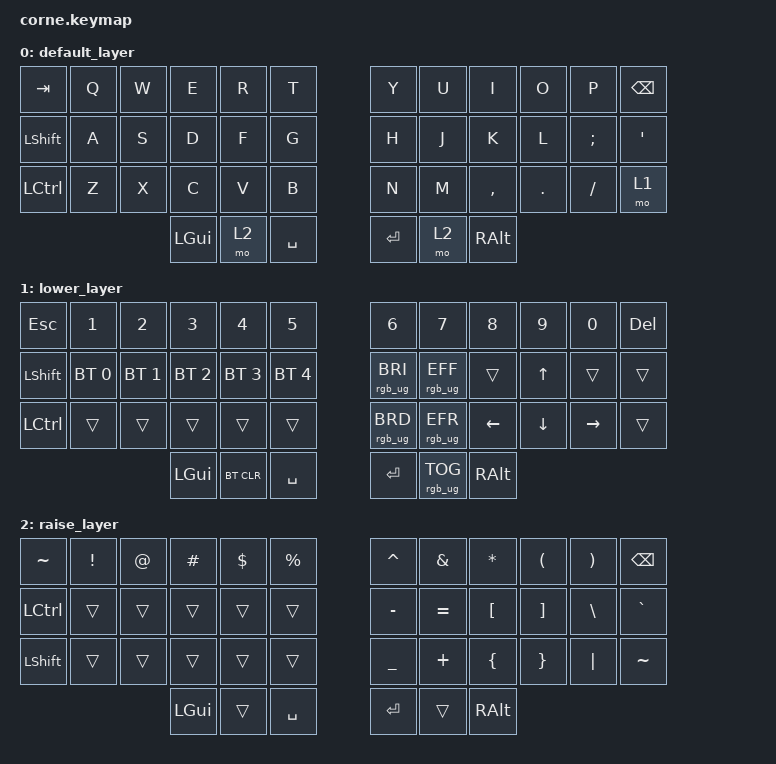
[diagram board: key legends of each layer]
/*
 * Copyright (c) 2020 The ZMK Contributors
 *
 * SPDX-License-Identifier: MIT
 */

#include <behaviors.dtsi>
#include <dt-bindings/zmk/bt.h>
#include <dt-bindings/zmk/keys.h>
#include <dt-bindings/zmk/rgb.h>

/ {
    keymap {
        compatible = "zmk,keymap";

        default_layer {
            // -----------------------------------------------------------------------------------------
            // |  TAB |  Q  |  W  |  E  |  R  |  T  |   |  Y  |  U   |  I  |  O  |  P  | BSPC |
            // | CTRL |  A  |  S  |  D  |  F  |  G  |   |  H  |  J   |  K  |  L  |  ;  |  '   |
            // | SHFT |  Z  |  X  |  C  |  V  |  B  |   |  N  |  M   |  ,  |  .  |  /  | ESC  |
            //                    | GUI | LWR | SPC |   | ENT | RSE  | ALT |

            bindings = <
&kp TAB    &kp Q  &kp W  &kp E     &kp R  &kp T        &kp Y    &kp U  &kp I      &kp O    &kp P     &kp BSPC
&kp LSHFT  &kp A  &kp S  &kp D     &kp F  &kp G        &kp H    &kp J  &kp K      &kp L    &kp SEMI  &kp SQT
&kp LCTRL  &kp Z  &kp X  &kp C     &kp V  &kp B        &kp N    &kp M  &kp COMMA  &kp DOT  &kp FSLH  &mo 1
                         &kp LGUI  &mo 2  &kp SPACE    &kp RET  &mo 2  &kp RALT
            >;
        };

        lower_layer {
            // -----------------------------------------------------------------------------------------
            // |  TAB |  1  |  2  |  3  |  4  |  5  |   |  6  |  7  |  8  |  9  |  0  | BSPC |
            // | BTCLR| BT1 | BT2 | BT3 | BT4 | BT5 |   | LFT | DWN |  UP | RGT |     |      |
            // | SHFT |     |     |     |     |     |   |     |     |     |     |     |      |
            //                    | GUI |     | SPC |   | ENT |     | ALT |

            bindings = <
&kp ESC    &kp N1        &kp N2        &kp N3        &kp N4        &kp N5          &kp N6           &kp N7           &kp N8    &kp N9        &kp N0     &kp DEL
&kp LSHFT  &bt BT_SEL 0  &bt BT_SEL 1  &bt BT_SEL 2  &bt BT_SEL 3  &bt BT_SEL 4    &rgb_ug RGB_BRI  &rgb_ug RGB_EFF  &trans    &kp UP_ARROW  &trans     &trans
&kp LCTRL  &trans        &trans        &trans        &trans        &trans          &rgb_ug RGB_BRD  &rgb_ug RGB_EFR  &kp LEFT  &kp DOWN      &kp RIGHT  &trans
                                       &kp LGUI      &bt BT_CLR    &kp SPACE       &kp RET          &rgb_ug RGB_TOG  &kp RALT
            >;
        };

        raise_layer {
            // -----------------------------------------------------------------------------------------
            // |  TAB |  !  |  @  |  #  |  $  |  %  |   |  ^  |  &  |  *  |  (  |  )  | BSPC |
            // | CTRL |     |     |     |     |     |   |  -  |  =  |  [  |  ]  |  \  |  `   |
            // | SHFT |     |     |     |     |     |   |  _  |  +  |  {  |  }  | "|" |  ~   |
            //                    | GUI |     | SPC |   | ENT |     | ALT |

            bindings = <
&kp TILDE  &kp EXCL  &kp AT  &kp HASH  &kp DLLR  &kp PRCNT    &kp CARET  &kp AMPS   &kp ASTRK  &kp LPAR  &kp RPAR  &kp BSPC
&kp LCTRL  &trans    &trans  &trans    &trans    &trans       &kp MINUS  &kp EQUAL  &kp LBKT   &kp RBKT  &kp BSLH  &kp GRAVE
&kp LSHFT  &trans    &trans  &trans    &trans    &trans       &kp UNDER  &kp PLUS   &kp LBRC   &kp RBRC  &kp PIPE  &kp TILDE
                             &kp LGUI  &trans    &kp SPACE    &kp RET    &trans     &kp RALT
            >;
        };
    };
};
